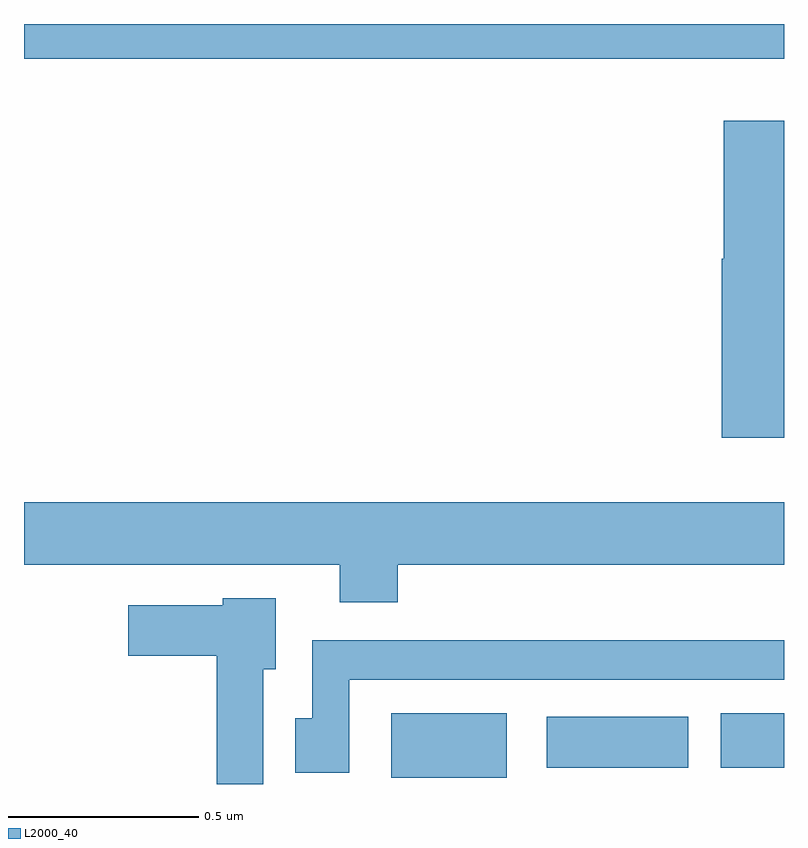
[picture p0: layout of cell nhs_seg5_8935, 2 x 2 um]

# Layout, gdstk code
import gdstk
lib = gdstk.Library(unit=1e-6, precision=1e-09)
def R(c, l, rs):  # rectangles x0, y0, x1, y1
    for r in rs: c.add(gdstk.rectangle(r[:2], r[2:], *l))
def P(c, l, *ps):  # polygons
    for p in ps: c.add(gdstk.Polygon(p, *l))
L2000_40 = (2000, 40)

nhs_seg5_8935 = lib.new_cell('nhs_seg5_8935')
R(nhs_seg5_8935, L2000_40, [(227.966,906.815,228.271,906.985), (228.375,906.842,228.748,906.976), (228.833,906.842,229,906.985), (227,908.708,229,908.799)])
P(nhs_seg5_8935, L2000_40, [(229,908.545),(228.842,908.545),(228.842,908.181),(228.836,908.181),(228.836,907.71),(229,907.71)],
  [(227.984,907.376),(229,907.376),(229,907.54),(227,907.54),(227,907.376),(227.831,907.376),(227.831,907.277),(227.984,907.277)],
  [(227.629,907.101),(227.662,907.101),(227.662,907.288),(227.523,907.288),(227.523,907.27),(227.274,907.27),(227.274,907.136),(227.507,907.136),(227.507,906.799),(227.629,906.799)],
  [(227.856,907.073),(229,907.073),(229,907.177),(227.759,907.177),(227.759,906.972),(227.714,906.972),(227.714,906.828),(227.856,906.828)])

lib.write_gds('nhs_seg5_8935.gds')
